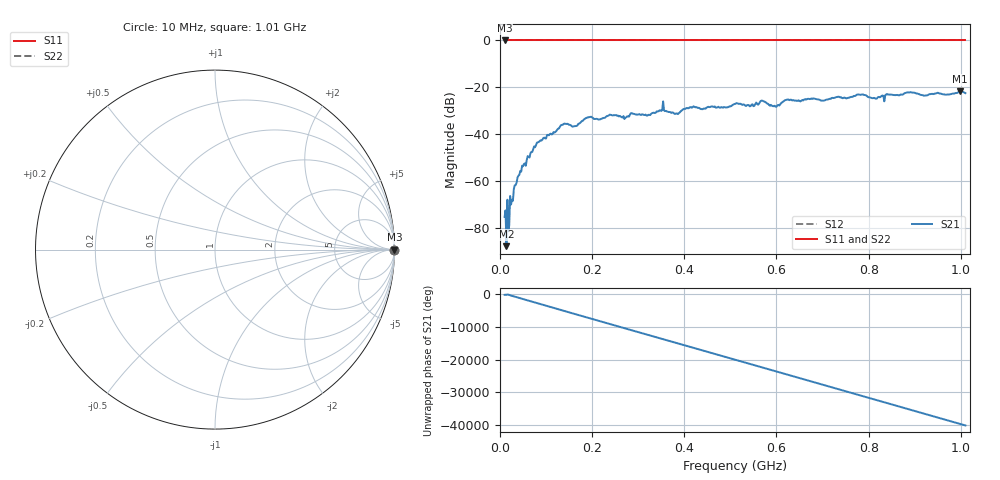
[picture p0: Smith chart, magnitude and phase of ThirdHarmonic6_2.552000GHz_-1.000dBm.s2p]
! 8/17/2025 5:13:33 AM
! C:\ANRITSUVNA\TEMP\TEMP.S2P
! CHANNEL.1
! TR.MEASUREMENT
! RAW.DATA
! RF.CORRECTION.OFF
! AVERAGING.OFF
! IF.BANDWIDTH: 5KHZ
! SWEEPTYPE:  FREQ.SWEEP(Linear)
! Reference Plane Port Info
! PORT:  PORT1  PORT2
! DISTANCE:  0  m  0  m
! TIME:  0  s  0  s
! PHASE.OFFSET:  0  deg.  0  deg.
! LOSS:  0  dB  0  dB
! REF.LOSS:  0  dB  0  dB
! REF.FREQ:  0  Hz  0  Hz
! Power Info
! POWER:  -20  dBm  -20  dBm
! EFF.POWER:  -20  dBm  -20  dBm
! SOURCE.ATTEN:  0  dB  0  dB
! TEST.ATTEN:  0  dB  0  dB
# GHZ S RI R 50.0
! FREQ.GHZ  S11RE  S11IM  S21RE  S21IM  S12RE  S12IM  S22RE  S22IM
!; PortSelection: Port_12
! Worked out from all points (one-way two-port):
!   501 points, 10 MHz to 1.01 GHz, reference 50 ohm
!   highest |S21| = -21.74 dB at 998 MHz (marker M1); lowest = -87.7 dB at 14 MHz (marker M2)
!   lowest |S11| = 0.0 dB at 10 MHz (marker M3)
!   |S11| at or under -10 dB: nowhere
!   |S22| runs from 0.0 to 0.0 dB; largest |S21 - S12| = 1.1
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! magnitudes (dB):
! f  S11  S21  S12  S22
! 10 MHz  0.0  -75.2  0.0  0.0
! 14 MHz  0.0  -87.7  0.0  0.0
! 16 MHz  0.0  -67.9  0.0  0.0
! 22 MHz  0.0  -66.3  0.0  0.0
! 26 MHz  0.0  -67.9  0.0  0.0
! 44 MHz  0.0  -55.7  0.0  0.0
! 78 MHz  0.0  -44.7  0.0  0.0
! 136 MHz  0.0  -36.0  0.0  0.0
! 162 MHz  0.0  -36.5  0.0  0.0
! 178 MHz  0.0  -34.3  0.0  0.0
! 344 MHz  0.0  -30.2  0.0  0.0
! 384 MHz  0.0  -31.1  0.0  0.0
! 416 MHz  0.0  -28.7  0.0  0.0
! 510 MHz  0.0  -27.0  0.0  0.0
! 546 MHz  0.0  -27.4  0.0  0.0
! 570 MHz  0.0  -25.7  0.0  0.0
! 596 MHz  0.0  -27.8  0.0  0.0
! 622 MHz  0.0  -25.3  0.0  0.0
! 678 MHz  0.0  -24.9  0.0  0.0
! 844 MHz  0.0  -23.0  0.0  0.0
! 998 MHz  0.0  -21.7  0.0  0.0
! 1.01 GHz  0.0  -22.5  0.0  0.0
